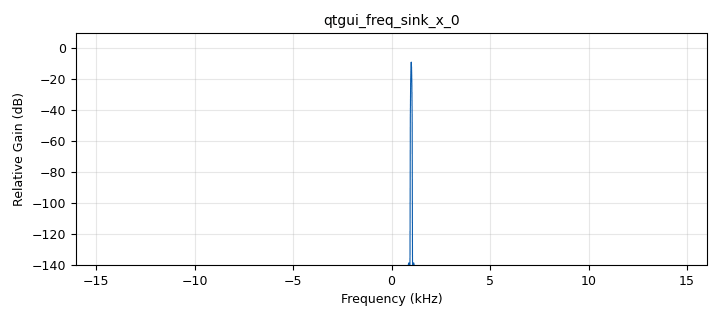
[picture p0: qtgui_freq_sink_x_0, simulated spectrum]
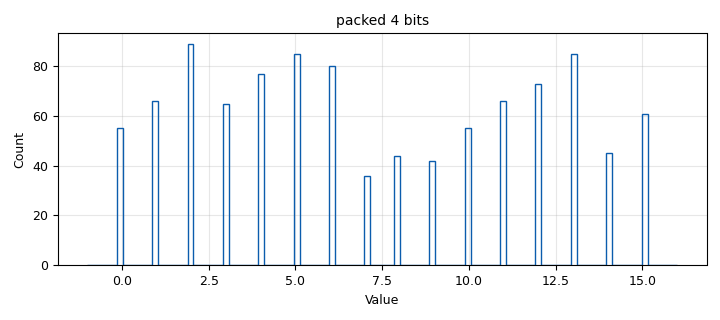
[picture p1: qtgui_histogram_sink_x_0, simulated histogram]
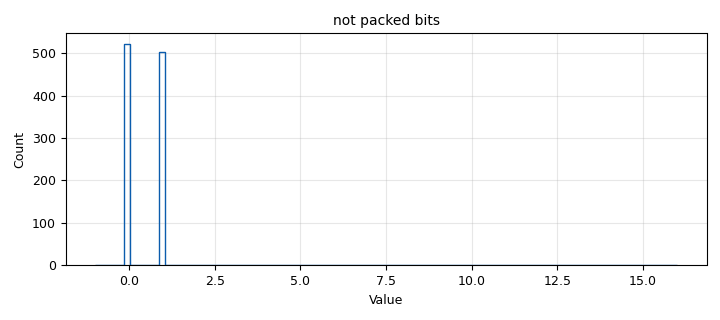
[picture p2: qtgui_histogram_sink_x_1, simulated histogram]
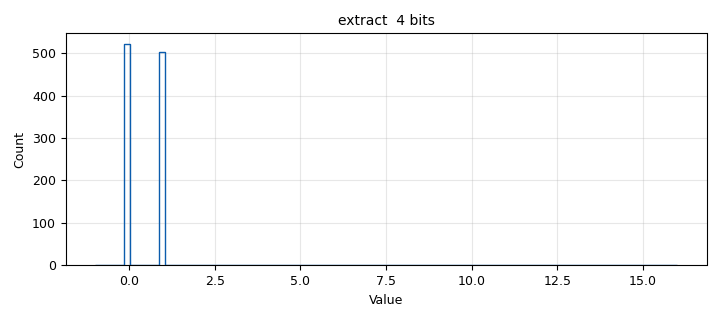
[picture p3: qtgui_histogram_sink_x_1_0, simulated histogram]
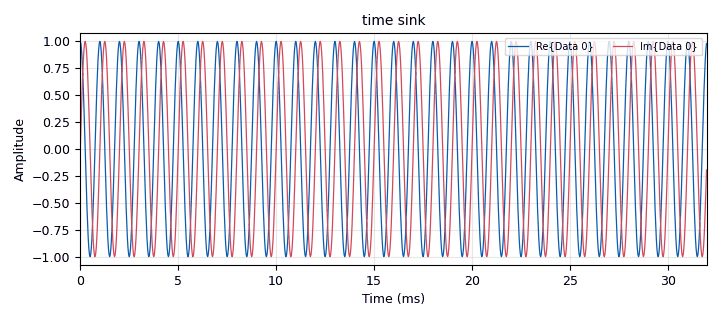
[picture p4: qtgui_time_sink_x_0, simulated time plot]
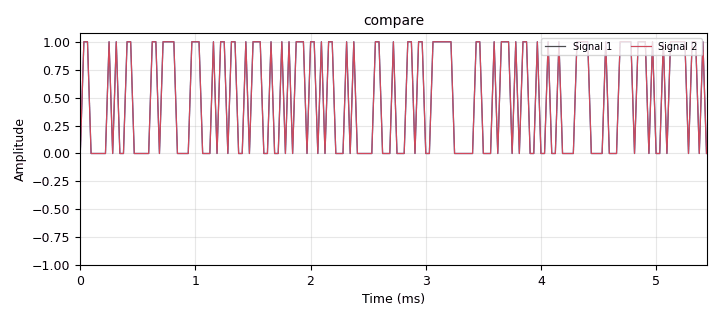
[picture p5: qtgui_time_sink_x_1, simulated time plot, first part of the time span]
options:
  parameters:
    author: opensourcesdr
    generate_options: qt_gui
    id: FlowGraph
    output_language: python
    title: FlowGraph
  states: {}

blocks:
- name: fft_size
  id: variable_qtgui_range
  parameters:
    orient: Qt.Horizontal
    start: '512'
    step: '20'
    stop: '4096'
    value: '2048'
  states: {}
- name: samp_rate
  id: variable
  parameters:
    value: '32000'
  states: {}
- name: signal_freq
  id: variable_qtgui_range
  parameters:
    orient: Qt.Horizontal
    start: 1e3
    step: '1'
    stop: 10e3
    value: 1e3
  states: {}
- name: analog_random_source_x_0
  id: analog_random_source_x
  parameters:
    comment: binary_random_source
    max: '2'
    min: '0'
    num_samps: '1000'
    repeat: 'True'
    type: byte
  states: {}
- name: analog_sig_source_x_0
  id: analog_sig_source_x
  parameters:
    amp: '1'
    freq: signal_freq
    offset: '0'
    phase: '0'
    samp_rate: samp_rate
    type: complex
    waveform: analog.GR_COS_WAVE
  states: {}
- name: blocks_char_to_float_0
  id: blocks_char_to_float
  parameters:
    scale: '1'
  states: {}
- name: blocks_char_to_float_0_0
  id: blocks_char_to_float
  parameters:
    scale: '1'
  states: {}
- name: blocks_char_to_float_0_1
  id: blocks_char_to_float
  parameters:
    scale: '1'
  states: {}
- name: blocks_pack_k_bits_bb_0
  id: blocks_pack_k_bits_bb
  parameters:
    k: '4'
  states: {}
- name: blocks_throttle_0
  id: blocks_throttle
  parameters:
    samples_per_second: samp_rate
    type: complex
  states: {}
- name: blocks_throttle_1
  id: blocks_throttle
  parameters:
    samples_per_second: samp_rate
    type: byte
  states: {}
- name: blocks_unpack_k_bits_bb_0
  id: blocks_unpack_k_bits_bb
  parameters:
    k: '4'
  states: {}
- name: qtgui_freq_sink_x_0
  id: qtgui_freq_sink_x
  parameters:
    bw: samp_rate
    fc: '0'
    fftsize: fft_size
    type: complex
    wintype: firdes.WIN_BLACKMAN_hARRIS
  states: {}
- name: qtgui_histogram_sink_x_0
  id: qtgui_histogram_sink_x
  parameters:
    bins: '100'
    name: '"packed 4 bits"'
    size: '1024'
    type: float
    xmax: '16'
    xmin: '-1'
  states: {}
- name: qtgui_histogram_sink_x_1
  id: qtgui_histogram_sink_x
  parameters:
    bins: '100'
    name: '"not packed bits"'
    size: '1024'
    type: float
    xmax: '16'
    xmin: '-1'
  states: {}
- name: qtgui_histogram_sink_x_1_0
  id: qtgui_histogram_sink_x
  parameters:
    bins: '100'
    name: '"extract  4 bits"'
    size: '1024'
    type: float
    xmax: '16'
    xmin: '-1'
  states: {}
- name: qtgui_time_sink_x_0
  id: qtgui_time_sink_x
  parameters:
    name: '"time sink"'
    size: '1024'
    srate: samp_rate
    type: complex
  states: {}
- name: qtgui_time_sink_x_1
  id: qtgui_time_sink_x
  parameters:
    name: '"compare"'
    nconnections: '2'
    size: '1024'
    srate: samp_rate
    type: float
  states: {}

connections:
- [analog_random_source_x_0, '0', blocks_throttle_1, '0']
- [analog_sig_source_x_0, '0', blocks_throttle_0, '0']
- [blocks_char_to_float_0, '0', qtgui_histogram_sink_x_0, '0']
- [blocks_char_to_float_0_0, '0', qtgui_histogram_sink_x_1, '0']
- [blocks_char_to_float_0_0, '0', qtgui_time_sink_x_1, '0']
- [blocks_char_to_float_0_1, '0', qtgui_histogram_sink_x_1_0, '0']
- [blocks_char_to_float_0_1, '0', qtgui_time_sink_x_1, '1']
- [blocks_pack_k_bits_bb_0, '0', blocks_char_to_float_0, '0']
- [blocks_pack_k_bits_bb_0, '0', blocks_unpack_k_bits_bb_0, '0']
- [blocks_throttle_0, '0', qtgui_freq_sink_x_0, '0']
- [blocks_throttle_0, '0', qtgui_time_sink_x_0, '0']
- [blocks_throttle_1, '0', blocks_char_to_float_0_0, '0']
- [blocks_throttle_1, '0', blocks_pack_k_bits_bb_0, '0']
- [blocks_unpack_k_bits_bb_0, '0', blocks_char_to_float_0_1, '0']

metadata:
  file_format: 1
